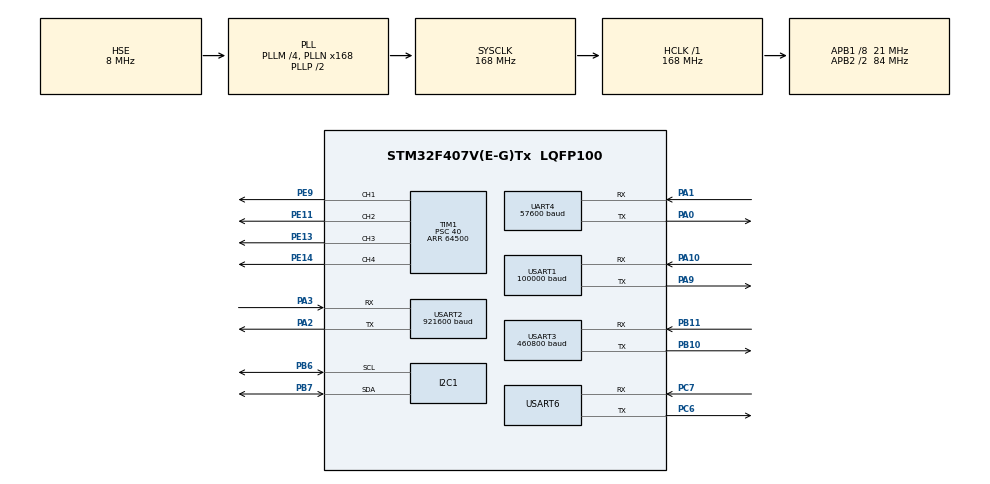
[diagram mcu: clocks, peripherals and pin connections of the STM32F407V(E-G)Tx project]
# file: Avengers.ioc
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Dma.Request0=USART1_RX
Dma.Request1=USART6_RX
Dma.Request2=USART3_RX
Dma.Request3=UART4_TX
Dma.Request4=UART4_RX
Dma.UART4_RX.4.Direction=DMA_PERIPH_TO_MEMORY
Dma.UART4_RX.4.FIFOMode=DMA_FIFOMODE_DISABLE
Dma.UART4_RX.4.Instance=DMA1_Stream2
Dma.UART4_RX.4.MemDataAlignment=DMA_MDATAALIGN_BYTE
Dma.UART4_RX.4.MemInc=DMA_MINC_ENABLE
Dma.UART4_RX.4.Mode=DMA_CIRCULAR
Dma.UART4_RX.4.PeriphDataAlignment=DMA_PDATAALIGN_BYTE
Dma.UART4_RX.4.PeriphInc=DMA_PINC_DISABLE
Dma.UART4_RX.4.Priority=DMA_PRIORITY_LOW
Dma.UART4_TX.3.Direction=DMA_MEMORY_TO_PERIPH
Dma.UART4_TX.3.FIFOMode=DMA_FIFOMODE_DISABLE
Dma.UART4_TX.3.Instance=DMA1_Stream4
Dma.UART4_TX.3.MemDataAlignment=DMA_MDATAALIGN_BYTE
Dma.UART4_TX.3.MemInc=DMA_MINC_ENABLE
Dma.UART4_TX.3.Mode=DMA_CIRCULAR
Dma.UART4_TX.3.PeriphDataAlignment=DMA_PDATAALIGN_BYTE
Dma.UART4_TX.3.PeriphInc=DMA_PINC_DISABLE
Dma.UART4_TX.3.Priority=DMA_PRIORITY_LOW
Dma.USART1_RX.0.Direction=DMA_PERIPH_TO_MEMORY
Dma.USART1_RX.0.FIFOMode=DMA_FIFOMODE_DISABLE
Dma.USART1_RX.0.Instance=DMA2_Stream2
Dma.USART1_RX.0.MemDataAlignment=DMA_MDATAALIGN_BYTE
Dma.USART1_RX.0.MemInc=DMA_MINC_ENABLE
Dma.USART1_RX.0.Mode=DMA_CIRCULAR
Dma.USART1_RX.0.PeriphDataAlignment=DMA_PDATAALIGN_BYTE
Dma.USART1_RX.0.PeriphInc=DMA_PINC_DISABLE
Dma.USART1_RX.0.Priority=DMA_PRIORITY_MEDIUM
Dma.USART3_RX.2.Direction=DMA_PERIPH_TO_MEMORY
Dma.USART3_RX.2.FIFOMode=DMA_FIFOMODE_DISABLE
Dma.USART3_RX.2.Instance=DMA1_Stream1
Dma.USART3_RX.2.MemDataAlignment=DMA_MDATAALIGN_BYTE
Dma.USART3_RX.2.MemInc=DMA_MINC_ENABLE
Dma.USART3_RX.2.Mode=DMA_CIRCULAR
Dma.USART3_RX.2.PeriphDataAlignment=DMA_PDATAALIGN_BYTE
Dma.USART3_RX.2.PeriphInc=DMA_PINC_DISABLE
Dma.USART3_RX.2.Priority=DMA_PRIORITY_LOW
Dma.USART6_RX.1.Direction=DMA_PERIPH_TO_MEMORY
Dma.USART6_RX.1.FIFOMode=DMA_FIFOMODE_DISABLE
Dma.USART6_RX.1.Instance=DMA2_Stream1
Dma.USART6_RX.1.MemDataAlignment=DMA_MDATAALIGN_BYTE
Dma.USART6_RX.1.MemInc=DMA_MINC_ENABLE
Dma.USART6_RX.1.Mode=DMA_CIRCULAR
Dma.USART6_RX.1.PeriphDataAlignment=DMA_PDATAALIGN_BYTE
Dma.USART6_RX.1.PeriphInc=DMA_PINC_DISABLE
Dma.USART6_RX.1.Priority=DMA_PRIORITY_LOW
Mcu.Family=STM32F4
Mcu.Name=STM32F407V(E-G)Tx
Mcu.Package=LQFP100
NVIC.DMA1_Stream1_IRQn=true\:0\:0\:false\:false\:true\:false
NVIC.DMA1_Stream2_IRQn=true\:0\:0\:false\:false\:true\:false
NVIC.DMA1_Stream4_IRQn=true\:0\:0\:false\:false\:true\:false
NVIC.DMA2_Stream1_IRQn=true\:0\:0\:false\:false\:true\:false
NVIC.DMA2_Stream2_IRQn=true\:0\:0\:false\:false\:true\:false
NVIC.PriorityGroup=NVIC_PRIORITYGROUP_4
NVIC.TIM6_DAC_IRQn=true\:0\:0\:false\:false\:true\:true
NVIC.TIM7_IRQn=true\:0\:0\:false\:false\:true\:true
NVIC.UART4_IRQn=true\:0\:0\:false\:false\:true\:true
NVIC.USART6_IRQn=true\:0\:0\:false\:false\:true\:true
PA0-WKUP.Mode=Asynchronous
PA0-WKUP.Signal=UART4_TX
PA1.Mode=Asynchronous
PA1.Signal=UART4_RX
PA10.Mode=Asynchronous
PA10.Signal=USART1_RX
PA13.Mode=Serial_Wire
PA13.Signal=SYS_JTMS-SWDIO
PA14.Mode=Serial_Wire
PA14.Signal=SYS_JTCK-SWCLK
PA2.Mode=Asynchronous
PA2.Signal=USART2_TX
PA3.Mode=Asynchronous
PA3.Signal=USART2_RX
PA9.Mode=Asynchronous
PA9.Signal=USART1_TX
PB10.Mode=Asynchronous
PB10.Signal=USART3_TX
PB11.Mode=Asynchronous
PB11.Signal=USART3_RX
PB6.Mode=I2C
PB6.Signal=I2C1_SCL
PB7.Mode=I2C
PB7.Signal=I2C1_SDA
PC6.Mode=Asynchronous
PC6.Signal=USART6_TX
PC7.Mode=Asynchronous
PC7.Signal=USART6_RX
PE11.Signal=S_TIM1_CH2
PE13.Signal=S_TIM1_CH3
PE14.Signal=S_TIM1_CH4
PE9.Signal=S_TIM1_CH1
PH0-OSC_IN.Mode=HSE-External-Oscillator
PH0-OSC_IN.Signal=RCC_OSC_IN
PH1-OSC_OUT.Mode=HSE-External-Oscillator
PH1-OSC_OUT.Signal=RCC_OSC_OUT
ProjectManager.HeapSize=0x200
ProjectManager.StackSize=0x4000
ProjectManager.TargetToolchain=EWARM
RCC.48MHZClocksFreq_Value=84000000
RCC.AHBFreq_Value=168000000
RCC.APB1CLKDivider=RCC_HCLK_DIV8
RCC.APB1Freq_Value=21000000
RCC.APB1TimFreq_Value=42000000
RCC.APB2CLKDivider=RCC_HCLK_DIV2
RCC.APB2Freq_Value=84000000
RCC.APB2TimFreq_Value=168000000
RCC.CortexFreq_Value=168000000
RCC.HCLKFreq_Value=168000000
RCC.HSE_VALUE=8000000
RCC.HSI_VALUE=16000000
RCC.LSE_VALUE=32768
RCC.PLLM=4
RCC.PLLN=168
RCC.PLLSourceVirtual=RCC_PLLSOURCE_HSE
RCC.SYSCLKFreq_VALUE=168000000
RCC.SYSCLKSource=RCC_SYSCLKSOURCE_PLLCLK
RCC.VCOOutputFreq_Value=336000000
SH.S_TIM1_CH1.0=TIM1_CH1,PWM Generation1 CH1
SH.S_TIM1_CH2.0=TIM1_CH2,PWM Generation2 CH2
SH.S_TIM1_CH3.0=TIM1_CH3,PWM Generation3 CH3
SH.S_TIM1_CH4.0=TIM1_CH4,PWM Generation4 CH4
TIM1.Channel-PWM\ Generation1\ CH1=TIM_CHANNEL_1
TIM1.Channel-PWM\ Generation2\ CH2=TIM_CHANNEL_2
TIM1.Channel-PWM\ Generation3\ CH3=TIM_CHANNEL_3
TIM1.Channel-PWM\ Generation4\ CH4=TIM_CHANNEL_4
TIM1.Period=64500
TIM1.Prescaler=40
TIM6.Period=999
TIM6.Prescaler=41
TIM7.Period=9999
TIM7.Prescaler=4199
UART4.BaudRate=57600
UART4.VirtualMode=Asynchronous
USART1.BaudRate=100000
USART1.Parity=PARITY_EVEN
USART1.StopBits=STOPBITS_2
USART1.VirtualMode=VM_ASYNC
USART1.WordLength=WORDLENGTH_9B
USART2.BaudRate=921600
USART2.VirtualMode=VM_ASYNC
USART3.BaudRate=460800
USART3.VirtualMode=VM_ASYNC
USART6.VirtualMode=VM_ASYNC
VP_TIM1_VS_ClockSourceINT.Mode=Internal
VP_TIM6_VS_ClockSourceINT.Mode=Enable_Timer
VP_TIM7_VS_ClockSourceINT.Mode=Enable_Timer
board=Avengers

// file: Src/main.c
/**
  ******************************************************************************
  * File Name          : main.c
  * Description        : Main program body
  ******************************************************************************
  ** This notice applies to any and all portions of this file
  * that are not between comment pairs USER CODE BEGIN and
  * USER CODE END. Other portions of this file, whether
  * inserted by the user or by software development tools
  * are owned by their respective copyright owners.
  *
  * COPYRIGHT(c) 2017 STMicroelectronics
  *
  * Redistribution and use in source and binary forms, with or without modification,
  * are permitted provided that the following conditions are met:
  *   1. Redistributions of source code must retain the above copyright notice,
  *      this list of conditions and the following disclaimer.
  *   2. Redistributions in binary form must reproduce the above copyright notice,
  *      this list of conditions and the following disclaimer in the documentation
  *      and/or other materials provided with the distribution.
  *   3. Neither the name of STMicroelectronics nor the names of its contributors
  *      may be used to endorse or promote products derived from this software
  *      without specific prior written permission.
  *
  * THIS SOFTWARE IS PROVIDED BY THE COPYRIGHT HOLDERS AND CONTRIBUTORS "AS IS"
  * AND ANY EXPRESS OR IMPLIED WARRANTIES, INCLUDING, BUT NOT LIMITED TO, THE
  * IMPLIED WARRANTIES OF MERCHANTABILITY AND FITNESS FOR A PARTICULAR PURPOSE ARE
  * DISCLAIMED. IN NO EVENT SHALL THE COPYRIGHT HOLDER OR CONTRIBUTORS BE LIABLE
  * FOR ANY DIRECT, INDIRECT, INCIDENTAL, SPECIAL, EXEMPLARY, OR CONSEQUENTIAL
  * DAMAGES (INCLUDING, BUT NOT LIMITED TO, PROCUREMENT OF SUBSTITUTE GOODS OR
  * SERVICES; LOSS OF USE, DATA, OR PROFITS; OR BUSINESS INTERRUPTION) HOWEVER
  * CAUSED AND ON ANY THEORY OF LIABILITY, WHETHER IN CONTRACT, STRICT LIABILITY,
  * OR TORT (INCLUDING NEGLIGENCE OR OTHERWISE) ARISING IN ANY WAY OUT OF THE USE
  * OF THIS SOFTWARE, EVEN IF ADVISED OF THE POSSIBILITY OF SUCH DAMAGE.
  *
  ******************************************************************************
  */
#include "main.h"
#include "stm32f4xx_hal.h"
#include "dma.h"
#include "i2c.h"
#include "tim.h"
#include "usart.h"
#include "gpio.h"

/* USER CODE BEGIN Includes */
#include <string.h>
#include "mti.h"
#include "gps.h"
#include "gy63.h"
#include "sbus.h"
#include "xbee.h"
#include "flash.h"
/* USER CODE END Includes */

/* USER CODE BEGIN PV */
/* Private variables ---------------------------------------------------------*/

uint8_t xbee_rx_buff[2];
/* USER CODE END PV */

void SystemClock_Config(void);

/* USER CODE BEGIN PFP */
/* Private function prototypes -----------------------------------------------*/
void initialize();
/* USER CODE END PFP */

int main(void)
{

  /* MCU Configuration----------------------------------------------------------*/

  /* Reset of all peripherals, Initializes the Flash interface and the Systick. */
  HAL_Init();

  /* Configure the system clock */
  SystemClock_Config();

  /* Initialize all configured peripherals */
  MX_GPIO_Init();
  MX_DMA_Init();
  MX_TIM6_Init();
  MX_TIM7_Init();
  MX_USART2_UART_Init();
  MX_USART3_UART_Init();
  MX_USART6_UART_Init();
  MX_I2C1_Init();
  MX_USART1_UART_Init();
  MX_TIM1_Init();
  MX_UART4_Init();

  /* USER CODE BEGIN 2 */
  /* ���� device �ʱ�ȭ */
  initialize();
  /* USER CODE END 2 */

  /* Infinite loop */
  /* USER CODE BEGIN WHILE */

  while (1)
  {
    //read_gy63_adc(CMD_ADC_4096);
    //calculate_gy63_altitude();
    //HAL_Delay(100);

  /* USER CODE END WHILE */

  }

}

/** System Clock Configuration
*/
void SystemClock_Config(void)
{

  RCC_OscInitTypeDef RCC_OscInitStruct;
  RCC_ClkInitTypeDef RCC_ClkInitStruct;

    /**Configure the main internal regulator output voltage
    */
  __HAL_RCC_PWR_CLK_ENABLE();

  __HAL_PWR_VOLTAGESCALING_CONFIG(PWR_REGULATOR_VOLTAGE_SCALE1);

    /**Initializes the CPU, AHB and APB busses clocks
    */
  RCC_OscInitStruct.OscillatorType = RCC_OSCILLATORTYPE_HSE;
  RCC_OscInitStruct.HSEState = RCC_HSE_ON;
  RCC_OscInitStruct.PLL.PLLState = RCC_PLL_ON;
  RCC_OscInitStruct.PLL.PLLSource = RCC_PLLSOURCE_HSE;
  RCC_OscInitStruct.PLL.PLLM = 4;
  RCC_OscInitStruct.PLL.PLLN = 168;
  RCC_OscInitStruct.PLL.PLLP = RCC_PLLP_DIV2;
  RCC_OscInitStruct.PLL.PLLQ = 4;
  if (HAL_RCC_OscConfig(&RCC_OscInitStruct) != HAL_OK)
  {
    _Error_Handler(__FILE__, __LINE__);
  }

    /**Initializes the CPU, AHB and APB busses clocks
    */
  RCC_ClkInitStruct.ClockType = RCC_CLOCKTYPE_HCLK|RCC_CLOCKTYPE_SYSCLK
                              |RCC_CLOCKTYPE_PCLK1|RCC_CLOCKTYPE_PCLK2;
  RCC_ClkInitStruct.SYSCLKSource = RCC_SYSCLKSOURCE_PLLCLK;
  RCC_ClkInitStruct.AHBCLKDivider = RCC_SYSCLK_DIV1;
  RCC_ClkInitStruct.APB1CLKDivider = RCC_HCLK_DIV8;
  RCC_ClkInitStruct.APB2CLKDivider = RCC_HCLK_DIV2;

  if (HAL_RCC_ClockConfig(&RCC_ClkInitStruct, FLASH_LATENCY_5) != HAL_OK)
  {
    _Error_Handler(__FILE__, __LINE__);
  }

    /**Configure the Systick interrupt time
    */
  HAL_SYSTICK_Config(HAL_RCC_GetHCLKFreq()/1000);

    /**Configure the Systick
    */
  HAL_SYSTICK_CLKSourceConfig(SYSTICK_CLKSOURCE_HCLK);

  /* SysTick_IRQn interrupt configuration */
  HAL_NVIC_SetPriority(SysTick_IRQn, 0, 0);
}

/* USER CODE BEGIN 4 */

/* All of things initialize function */
/* ���� device �ʱ�ȭ �ϴ� �Լ� */
void initialize()
{
  init_tim();
  init_uart_dma();
  init_sbus();
  init_mti();
  init_gps();
  init_flash();
  readGain_All();
  //init_gy63();
}

void HAL_TIM_PeriodElapsedCallback(TIM_HandleTypeDef *htim)
{
  /* 1Hz */
  if(htim->Instance == TIM7)
  {
   // printf("%d %d %d %d %d\r\n", HAL_GetTick(), mti_state.count, sbus.count, gps_state.posllh_loop_counter, gps_state.velned_loop_counter);
    //number = 0;
    mti_state.count = 0;
    sbus.count = 0;
    gps_state.posllh_loop_counter = 0;
    gps_state.velned_loop_counter = 0;
    //printf("%4d \r\n", __HAL_DMA_GET_COUNTER(&hdma_uart4_tx));
  }
  /* 1000Hz */
  else if(htim->Instance == TIM6)
  {
      //printf("%4d, %4X, %4X \r\n", __HAL_DMA_GET_COUNTER(&hdma_uart4_rx), xbee_rx_buff[0], xbee_rx_buff[1]);
      //printf("%4d", __HAL_DMA_GET_COUNTER(&hdma_uart4_rx));
      read_mti();
      read_sbus();
      read_gps();
      read_xbee();
//    read_mti();
//    read_sbus();
//
//    controll_cmd();
//    controller();
//    mixer();
//
//    write_pwm();

//    receive_mti_packet();
//    if(mti_state.packet_rx_flag)
//    {
//      check_mti_packet();
//      if(mti_state.checksum_flag)
//      {
//        decode_mti_packet();
//        mti_state.count++;
//      }
//    }

//    update_buffer();
//    if(make_next_decodeable_buffer()){
////      decode_sbus_data();
//    }
//
//    if(++idx >=10){
//      //printf("%.4f %.4d\r\n",mti.euler[0], sbus.data_buff[2]);
//      printf("HELLO WORLD!\n\r");
//      idx = 0;
//    }

  }
}

#ifdef __GNUC__
  /* With GCC/RAISONANCE, small printf (option LD Linker->Libraries->Small printf
     set to 'Yes') calls __io_putchar() */
  #define PUTCHAR_PROTOTYPE int __io_putchar(int ch)
#else
  #define PUTCHAR_PROTOTYPE int fputc(int ch, FILE *f)
#endif /* __GNUC__ */
/**
  * @brief  Retargets the C library printf function to the USART.
  * @param  None
  * @retval None
  */
PUTCHAR_PROTOTYPE
{
  /* write a character to the uart1 and Loop until the end of transmission */
  HAL_UART_Transmit(&huart2, (uint8_t *)&ch, 1, 0xFFFF);

  return ch;
}
/* USER CODE END 4 */

void _Error_Handler(char * file, int line)
{
  while(1)
  {
  }
}

/************************ (C) COPYRIGHT STMicroelectronics *****END OF FILE****/
